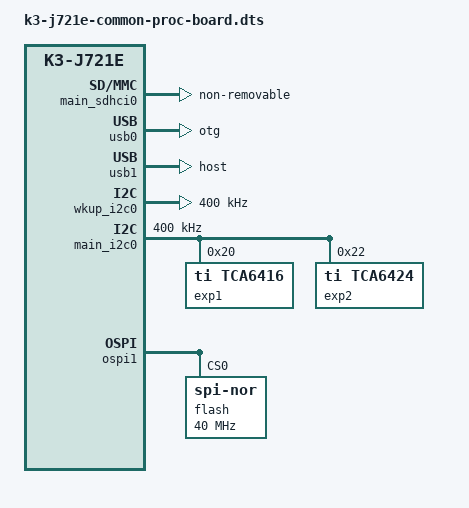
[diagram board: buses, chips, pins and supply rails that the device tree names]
// SPDX-License-Identifier: GPL-2.0
/*
 * Copyright (C) 2019 Texas Instruments Incorporated - http://www.ti.com/
 */

/dts-v1/;

#include "k3-j721e-som-p0.dtsi"

/ {
	chosen {
		stdout-path = "serial2:115200n8";
		bootargs = "console=ttyS2,115200n8 earlycon=ns16550a,mmio32,0x02800000";
	};

	aliases {
		remoteproc0 = &mcu_r5fss0_core0;
		remoteproc1 = &mcu_r5fss0_core1;
		remoteproc2 = &main_r5fss0_core0;
		remoteproc3 = &main_r5fss0_core1;
		remoteproc4 = &main_r5fss1_core0;
		remoteproc5 = &main_r5fss1_core1;
		remoteproc6 = &c66_0;
		remoteproc7 = &c66_1;
		remoteproc8 = &c71_0;
	};
};

&wkup_uart0 {
	/* Wakeup UART is used by System firmware */
	status = "disabled";
};

&main_uart0 {
	power-domains = <&k3_pds 146 TI_SCI_PD_SHARED>;
};

&main_uart3 {
	/* UART not brought out */
	status = "disabled";
};

&main_uart5 {
	/* UART not brought out */
	status = "disabled";
};

&main_uart6 {
	/* UART not brought out */
	status = "disabled";
};

&main_uart7 {
	/* UART not brought out */
	status = "disabled";
};

&main_uart8 {
	/* UART not brought out */
	status = "disabled";
};

&main_uart9 {
	/* UART not brought out */
	status = "disabled";
};

&main_pmx0 {
	main_mmc1_pins_default: main_mmc1_pins_default {
		pinctrl-single,pins = <
			J721E_IOPAD(0x254, PIN_INPUT, 0) /* (R29) MMC1_CMD */
			J721E_IOPAD(0x250, PIN_INPUT, 0) /* (P25) MMC1_CLK */
			J721E_IOPAD(0x2ac, PIN_INPUT, 0) /* (P25) MMC1_CLKLB */
			J721E_IOPAD(0x24c, PIN_INPUT, 0) /* (R24) MMC1_DAT0 */
			J721E_IOPAD(0x248, PIN_INPUT, 0) /* (P24) MMC1_DAT1 */
			J721E_IOPAD(0x244, PIN_INPUT, 0) /* (R25) MMC1_DAT2 */
			J721E_IOPAD(0x240, PIN_INPUT, 0) /* (R26) MMC1_DAT3 */
			J721E_IOPAD(0x258, PIN_INPUT, 0) /* (P23) MMC1_SDCD */
			J721E_IOPAD(0x25c, PIN_INPUT, 0) /* (R28) MMC1_SDWP */
		>;
	};
};

&main_sdhci0 {
	/* eMMC */
	non-removable;
	ti,driver-strength-ohm = <50>;
};

&main_sdhci1 {
	/* SD card */
	pinctrl-names = "default";
	pinctrl-0 = <&main_mmc1_pins_default>;
	ti,driver-strength-ohm = <50>;
};

&main_pmx0 {
	main_usbss0_pins_default: main_usbss0_pins_default {
		pinctrl-single,pins = <
			J721E_IOPAD(0x290, PIN_OUTPUT, 0) /* (U6) USB0_DRVVBUS */
			J721E_IOPAD(0x210, PIN_INPUT, 7) /* (W3) MCAN1_RX.GPIO1_3 */
		>;
	};

	main_usbss1_pins_default: main_usbss1_pins_default {
		pinctrl-single,pins = <
			J721E_IOPAD(0x214, PIN_OUTPUT, 4) /* (V4) MCAN1_TX.USB1_DRVVBUS */
		>;
	};

	main_i2c0_pins_default: main-i2c0-pins-default {
		pinctrl-single,pins = <
			J721E_IOPAD(0x220, PIN_INPUT_PULLUP, 0) /* (AC5) I2C0_SCL */
			J721E_IOPAD(0x224, PIN_INPUT_PULLUP, 0) /* (AA5) I2C0_SDA */
		>;
	};
};

&wkup_pmx0 {
	wkup_i2c0_pins_default: wkup-i2c0-pins-default {
		pinctrl-single,pins = <
			J721E_WKUP_IOPAD(0xf8, PIN_INPUT_PULLUP, 0) /* (J25) WKUP_I2C0_SCL */
			J721E_WKUP_IOPAD(0xfc, PIN_INPUT_PULLUP, 0) /* (H24) WKUP_I2C0_SDA */
		>;
	};

	mcu_fss0_ospi1_pins_default: mcu-fss0-ospi1-pins-default {
		pinctrl-single,pins = <
			J721E_WKUP_IOPAD(0x34, PIN_OUTPUT, 0) /* (F22) MCU_OSPI1_CLK */
			J721E_WKUP_IOPAD(0x50, PIN_OUTPUT, 0) /* (C22) MCU_OSPI1_CSn0 */
			J721E_WKUP_IOPAD(0x40, PIN_INPUT, 0) /* (D22) MCU_OSPI1_D0 */
			J721E_WKUP_IOPAD(0x44, PIN_INPUT, 0) /* (G22) MCU_OSPI1_D1 */
			J721E_WKUP_IOPAD(0x48, PIN_INPUT, 0) /* (D23) MCU_OSPI1_D2 */
			J721E_WKUP_IOPAD(0x4c, PIN_INPUT, 0) /* (C23) MCU_OSPI1_D3 */
			J721E_WKUP_IOPAD(0x3c, PIN_INPUT, 0) /* (B23) MCU_OSPI1_DQS */
			J721E_WKUP_IOPAD(0x38, PIN_INPUT, 0) /* (A23) MCU_OSPI1_LBCLKO */
		>;
	};
};

&usbss0 {
	pinctrl-names = "default";
	pinctrl-0 = <&main_usbss0_pins_default>;
	ti,vbus-divider;
};

&usb0 {
	dr_mode = "otg";
	maximum-speed = "super-speed";
};

&usbss1 {
	pinctrl-names = "default";
	pinctrl-0 = <&main_usbss1_pins_default>;
	ti,usb2-only;
};

&usb1 {
	dr_mode = "host";
	maximum-speed = "high-speed";
};

&wkup_i2c0 {
	pinctrl-names = "default";
	pinctrl-0 = <&wkup_i2c0_pins_default>;
	clock-frequency = <400000>;
};

&main_i2c0 {
	pinctrl-names = "default";
	pinctrl-0 = <&main_i2c0_pins_default>;
	clock-frequency = <400000>;

	exp1: gpio@20 {
		compatible = "ti,tca6416";
		reg = <0x20>;
		gpio-controller;
		#gpio-cells = <2>;
	};

	exp2: gpio@22 {
		compatible = "ti,tca6424";
		reg = <0x22>;
		gpio-controller;
		#gpio-cells = <2>;
	};
};

&ospi1 {
	pinctrl-names = "default";
	pinctrl-0 = <&mcu_fss0_ospi1_pins_default>;

	flash@0{
		compatible = "jedec,spi-nor";
		reg = <0x0>;
		spi-tx-bus-width = <1>;
		spi-rx-bus-width = <4>;
		spi-max-frequency = <40000000>;
		cdns,tshsl-ns = <60>;
		cdns,tsd2d-ns = <60>;
		cdns,tchsh-ns = <60>;
		cdns,tslch-ns = <60>;
		cdns,read-delay = <2>;
		#address-cells = <1>;
		#size-cells = <1>;
	};
};
